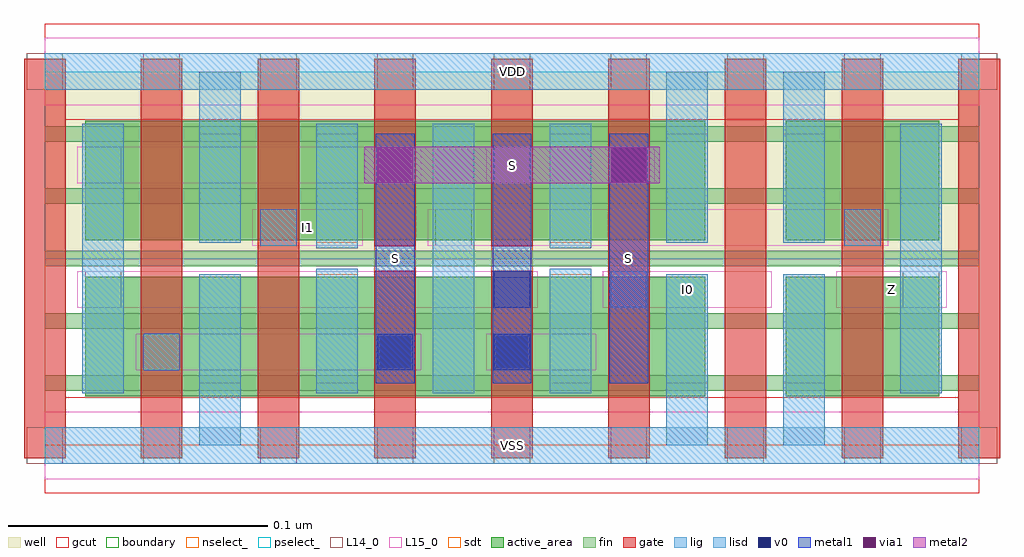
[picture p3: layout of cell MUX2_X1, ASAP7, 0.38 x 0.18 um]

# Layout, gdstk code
import gdstk
lib = gdstk.Library(unit=1e-6, precision=2.5e-10)
def R(c, l, rs):  # rectangles x0, y0, x1, y1
    for r in rs: c.add(gdstk.rectangle(r[:2], r[2:], *l))
def A(c, l, x, y, w, h, nx, ny, dx, dy):  # array of equal rectangles
    R(c, l, [(x+i*dx, y+j*dy, x+i*dx+w, y+j*dy+h) for i in range(nx) for j in range(ny)])
well = (1, 0)
fin = (2, 0)
gate = (7, 0)
gcut = (10, 0)
active_area = (11, 0)
nselect_ = (12, 0)
pselect_ = (13, 0)
L14_0 = (14, 0)
L15_0 = (15, 0)
lig = (16, 0)
lisd = (17, 0)
v0 = (18, 0)
metal1 = (19, 0)
metal2 = (20, 0)
via1 = (21, 0)
sdt = (88, 0)
boundary = (100, 0)

mux2_x1 = lib.new_cell('MUX2_X1')
R(mux2_x1, well, [(0,0.072,0.36,0.144)])
A(mux2_x1, fin, 0, 0.021, 0.36, 0.006, 1, 5, 0, 0.024)
A(mux2_x1, gate, -0.008, -0.005, 0.016, 0.154, 3, 1, 0.045, 0)
A(mux2_x1, gate, 0.217, -0.005, 0.016, 0.154, 4, 1, 0.045, 0)
R(mux2_x1, gate, [(0.127,-0.005,0.143,0.067), (0.172,-0.005,0.188,0.067), (0.127,0.077,0.143,0.149), (0.172,0.077,0.188,0.149)])
R(mux2_x1, gcut, [(0,-0.0185,0.36,0.0185), (-0.008,-0.005,0.008,0.149), (0.352,-0.005,0.368,0.149), (0.127,0.067,0.143,0.077), (0.172,0.067,0.188,0.077), (0,0.1255,0.36,0.1625)])
A(mux2_x1, active_area, 0.0155, 0.019, 0.059, 0.046, 5, 2, 0.045, 0.06)
R(mux2_x1, active_area, [(0.2855,0.019,0.3445,0.065), (0.2855,0.079,0.3445,0.125)])
R(mux2_x1, nselect_, [(0,0,0.36,0.072)])
R(mux2_x1, pselect_, [(0,0.072,0.36,0.144)])
A(mux2_x1, L14_0, -0.007, -0.007, 0.014, 0.014, 9, 2, 0.045, 0.144)
R(mux2_x1, L14_0, [(0.038,0.029,0.052,0.043), (0.128,0.029,0.142,0.043), (0.173,0.029,0.187,0.043), (0.0155,0.053,0.0295,0.067), (0.218,0.053,0.232,0.067), (0.3305,0.053,0.3445,0.067), (0.083,0.077,0.097,0.091), (0.1505,0.077,0.1645,0.091), (0.308,0.077,0.322,0.091), (0.0155,0.101,0.0295,0.115), (0.128,0.101,0.142,0.115), (0.173,0.101,0.187,0.115)])
R(mux2_x1, L15_0, [(0,-0.013,0.36,0.013), (0.035,0.029,0.145,0.043), (0.17,0.029,0.2125,0.043), (0.0125,0.053,0.19,0.067), (0.215,0.053,0.28,0.067), (0.305,0.053,0.3475,0.067), (0.08,0.077,0.1225,0.091), (0.1475,0.077,0.325,0.091), (0.0125,0.101,0.145,0.115), (0.17,0.101,0.235,0.115), (0,0.131,0.36,0.157)])
R(mux2_x1, lig, [(0,-0.007,0.36,0.007), (0.038,0.029,0.052,0.043), (0.128,0.029,0.142,0.043), (0.173,0.029,0.187,0.043), (0.218,0.053,0.232,0.067), (0.083,0.077,0.097,0.091), (0.308,0.077,0.322,0.091), (0.128,0.101,0.142,0.115), (0.173,0.101,0.187,0.115), (0,0.137,0.36,0.151)])
R(mux2_x1, lisd, [(0.0595,0,0.0755,0.066), (0.0595,0,0.0755,0.066), (0.2395,0,0.2555,0.066), (0.2845,0,0.3005,0.066), (0.0145,0.02,0.0305,0.124), (0.1045,0.02,0.1205,0.068), (0.1045,0.02,0.1205,0.068), (0.1495,0.02,0.1655,0.124), (0.1495,0.02,0.1655,0.124), (0.1945,0.02,0.2105,0.068), (0.1945,0.02,0.2105,0.068), (0.3295,0.02,0.3455,0.124), (0.1045,0.076,0.1205,0.124), (0.1045,0.076,0.1205,0.124), (0.1945,0.076,0.2105,0.124), (0.1945,0.076,0.2105,0.124), (0.0595,0.078,0.0755,0.144), (0.0595,0.078,0.0755,0.144), (0.2395,0.078,0.2555,0.144), (0.2845,0.078,0.3005,0.144)])
R(mux2_x1, v0, [(0.128,0.029,0.142,0.043), (0.173,0.029,0.187,0.043), (0.173,0.053,0.187,0.067), (0.218,0.101,0.232,0.115)])
A(mux2_x1, metal1, 0.1275, 0.024, 0.015, 0.096, 3, 1, 0.045, 0)
R(mux2_x1, metal2, [(0.123,0.101,0.237,0.115)])
R(mux2_x1, via1, [(0.128,0.101,0.142,0.115), (0.218,0.101,0.232,0.115)])
A(mux2_x1, sdt, 0.1945, 0.024, 0.016, 0.042, 3, 2, 0.045, 0.054)
R(mux2_x1, sdt, [(0.0145,0.02,0.0305,0.124), (0.1495,0.02,0.1655,0.124), (0.1495,0.02,0.1655,0.124), (0.3295,0.02,0.3455,0.124), (0.0595,0.024,0.0755,0.066), (0.0595,0.024,0.0755,0.066), (0.1045,0.024,0.1205,0.066), (0.1045,0.024,0.1205,0.066), (0.1945,0.024,0.2105,0.066), (0.0595,0.078,0.0755,0.12), (0.0595,0.078,0.0755,0.12), (0.1045,0.078,0.1205,0.12), (0.1045,0.078,0.1205,0.12), (0.1945,0.078,0.2105,0.12)])
R(mux2_x1, boundary, [(0,0,0.36,0.144)])
mux2_x1.add(gdstk.Label('VDD', (0.18,0.144), layer=1, texttype=251))
mux2_x1.add(gdstk.Label('VSS', (0.18,0), layer=3, texttype=251))
mux2_x1.add(gdstk.Label('I1', (0.1013,0.084), layer=15, texttype=251))
mux2_x1.add(gdstk.Label('I0', (0.2475,0.06), layer=15, texttype=251))
mux2_x1.add(gdstk.Label('Z', (0.3262,0.06), layer=15, texttype=251))
mux2_x1.add(gdstk.Label('VSS', (0.18,0), layer=15, texttype=251))
mux2_x1.add(gdstk.Label('VDD', (0.18,0.144), layer=15, texttype=251))
mux2_x1.add(gdstk.Label('S', (0.135,0.072), layer=19, texttype=251))
mux2_x1.add(gdstk.Label('S', (0.225,0.072), layer=19, texttype=251))
mux2_x1.add(gdstk.Label('S', (0.18,0.108), layer=20, texttype=251))

lib.write_gds('MUX2_X1.gds')
